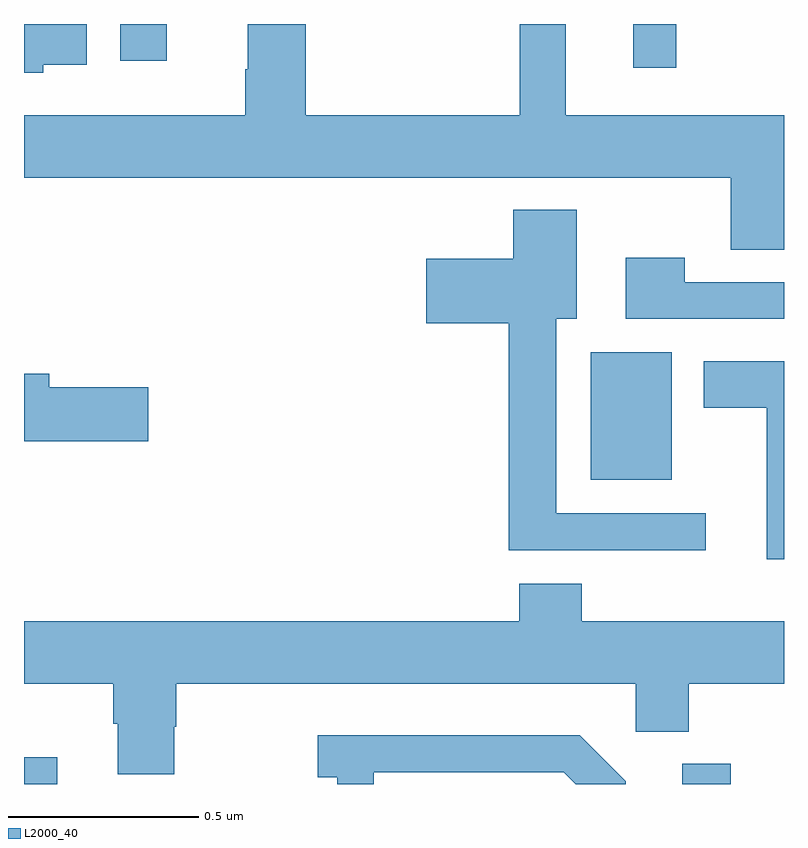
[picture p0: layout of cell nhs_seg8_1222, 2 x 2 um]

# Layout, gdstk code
import gdstk
lib = gdstk.Library(unit=1e-6, precision=1e-09)
def R(c, l, rs):  # rectangles x0, y0, x1, y1
    for r in rs: c.add(gdstk.rectangle(r[:2], r[2:], *l))
def P(c, l, *ps):  # polygons
    for p in ps: c.add(gdstk.Polygon(p, *l))
L2000_40 = (2000, 40)

nhs_seg8_1222 = lib.new_cell('nhs_seg8_1222')
R(nhs_seg8_1222, L2000_40, [(127,1118.9,127.087,1118.971), (128.732,1118.9,128.86,1118.953), (128.492,1119.701,128.704,1120.036), (128.603,1120.785,128.717,1120.9), (127.253,1120.803,127.375,1120.9)])
P(nhs_seg8_1222, L2000_40, [(127.05,1120.793),(127.165,1120.793),(127.165,1120.9),(127,1120.9),(127,1120.772),(127.05,1120.772)],
  [(129,1120.66),(128.425,1120.66),(128.425,1120.9),(128.304,1120.9),(128.304,1120.66),(127.742,1120.66),(127.742,1120.9),(127.589,1120.9),(127.589,1120.781),(127.582,1120.781),(127.582,1120.66),(127,1120.66),(127,1120.496),(128.86,1120.496),(128.86,1120.306),(129,1120.306)],
  [(128.794,1119.612),(128.401,1119.612),(128.401,1120.124),(128.455,1120.124),(128.455,1120.411),(128.288,1120.411),(128.288,1120.282),(128.058,1120.282),(128.058,1120.112),(128.276,1120.112),(128.276,1119.515),(128.794,1119.515)],
  [(129,1120.221),(128.739,1120.221),(128.739,1120.285),(128.583,1120.285),(128.583,1120.125),(129,1120.125)],
  [(129,1120.012),(128.789,1120.012),(128.789,1119.89),(128.954,1119.89),(128.954,1119.492),(129,1119.492)],
  [(127.327,1119.944),(127.066,1119.944),(127.066,1119.98),(127,1119.98),(127,1119.802),(127.327,1119.802)],
  [(127.395,1119.051),(127.4,1119.051),(127.4,1119.164),(128.61,1119.164),(128.61,1119.038),(128.749,1119.038),(128.749,1119.164),(129,1119.164),(129,1119.328),(128.468,1119.328),(128.468,1119.427),(128.303,1119.427),(128.303,1119.328),(127,1119.328),(127,1119.164),(127.235,1119.164),(127.235,1119.058),(127.247,1119.058),(127.247,1118.926),(127.395,1118.926)],
  [(127.921,1118.931),(128.421,1118.931),(128.452,1118.9),(128.583,1118.9),(128.583,1118.907),(128.462,1119.028),(127.773,1119.028),(127.773,1118.918),(127.824,1118.918),(127.824,1118.9),(127.921,1118.9)])

lib.write_gds('nhs_seg8_1222.gds')
